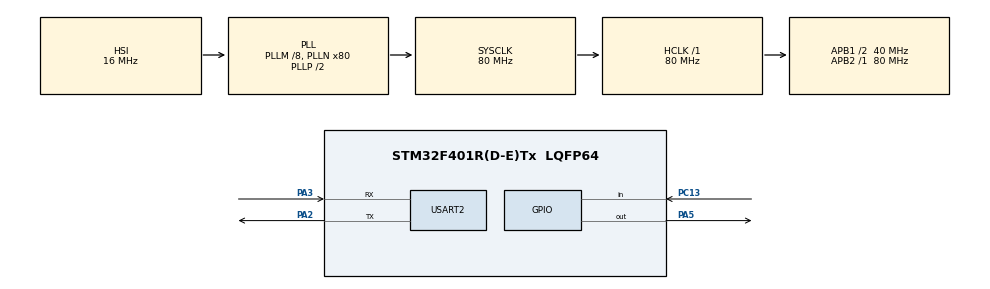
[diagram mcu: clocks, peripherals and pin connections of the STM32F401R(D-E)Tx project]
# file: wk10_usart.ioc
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Mcu.Family=STM32F4
RCC.CortexFreq_Value=80000000
<<<<<<< HEAD
=======
>>>>>>> teaching_wk10
RCC.APB1CLKDivider=RCC_HCLK_DIV2
RCC.SYSCLKSource=RCC_SYSCLKSOURCE_PLLCLK
ProjectManager.StackSize=0x400
PA3.Mode=Asynchronous
PA13.Signal=SYS_JTMS-SWDIO
ProjectManager.TargetToolchain=STM32CubeIDE
RCC.HCLKFreq_Value=80000000
RCC.APB2TimFreq_Value=80000000
RCC.LSE_VALUE=32768
RCC.AHBFreq_Value=80000000
PA5.Signal=GPIO_Output
RCC.HSE_VALUE=25000000
board=custom
PC13-ANTI_TAMP.Signal=GPIO_Input
RCC.VCOOutputFreq_Value=160000000
RCC.APB2Freq_Value=80000000
PA14.Mode=Serial_Wire
PA13.Mode=Serial_Wire
Mcu.Name=STM32F401R(D-E)Tx
PA2.Signal=USART2_TX
RCC.48MHZClocksFreq_Value=40000000
RCC.SYSCLKFreq_VALUE=80000000
Mcu.Package=LQFP64
USART2.VirtualMode=VM_ASYNC
PA14.Signal=SYS_JTCK-SWCLK
ProjectManager.HeapSize=0x200
RCC.HSI_VALUE=16000000
NVIC.PriorityGroup=NVIC_PRIORITYGROUP_4
RCC.PLLM=8
RCC.PLLN=80
RCC.APB1TimFreq_Value=80000000
PA2.Mode=Asynchronous
RCC.APB1Freq_Value=40000000
PA3.Signal=USART2_RX

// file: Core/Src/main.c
/* USER CODE BEGIN Header */
/**
  ******************************************************************************
  * @file           : main.c
  * @brief          : Main program body
  ******************************************************************************
  * @attention
  *
  * <h2><center>&copy; Copyright (c) 2021 STMicroelectronics.
  * All rights reserved.</center></h2>
  *
  * This software component is licensed by ST under BSD 3-Clause license,
  * the "License"; You may not use this file except in compliance with the
  * License. You may obtain a copy of the License at:
  *                        opensource.org/licenses/BSD-3-Clause
  *
  ******************************************************************************
  */
/* USER CODE END Header */
#include "main.h"

/* USER CODE BEGIN Includes */
<<<<<<< HEAD
#include "string.h"
#include "stdio.h"
=======

>>>>>>> teaching_wk10
/* USER CODE END Includes */

UART_HandleTypeDef huart2;

void SystemClock_Config(void);
static void MX_GPIO_Init(void);
static void MX_USART2_UART_Init(void);

int main(void)
{
  /* USER CODE BEGIN 1 */
<<<<<<< HEAD
  unsigned char tmp_ch[100];
=======

>>>>>>> teaching_wk10
  /* USER CODE END 1 */

  /* MCU Configuration--------------------------------------------------------*/

  /* Reset of all peripherals, Initializes the Flash interface and the Systick. */
  HAL_Init();

  /* Configure the system clock */
  SystemClock_Config();

  /* Initialize all configured peripherals */
  MX_GPIO_Init();
  MX_USART2_UART_Init();

  /* Infinite loop */
  /* USER CODE BEGIN WHILE */
  while (1)
  {
<<<<<<< HEAD
	  sprintf(&tmp_ch, "%f %d %s\n", 3.14, 56, "RAI");
	  HAL_UART_Transmit(&huart2, tmp_ch, strlen(tmp_ch), 1000);
	  HAL_Delay(1000);
=======
>>>>>>> teaching_wk10
    /* USER CODE END WHILE */

  }
}

void SystemClock_Config(void)
{
  RCC_OscInitTypeDef RCC_OscInitStruct = {0};
  RCC_ClkInitTypeDef RCC_ClkInitStruct = {0};

  /** Configure the main internal regulator output voltage
  */
  __HAL_RCC_PWR_CLK_ENABLE();
  __HAL_PWR_VOLTAGESCALING_CONFIG(PWR_REGULATOR_VOLTAGE_SCALE2);
  /** Initializes the RCC Oscillators according to the specified parameters
  * in the RCC_OscInitTypeDef structure.
  */
  RCC_OscInitStruct.OscillatorType = RCC_OSCILLATORTYPE_HSI;
  RCC_OscInitStruct.HSIState = RCC_HSI_ON;
  RCC_OscInitStruct.HSICalibrationValue = RCC_HSICALIBRATION_DEFAULT;
  RCC_OscInitStruct.PLL.PLLState = RCC_PLL_ON;
  RCC_OscInitStruct.PLL.PLLSource = RCC_PLLSOURCE_HSI;
  RCC_OscInitStruct.PLL.PLLM = 8;
  RCC_OscInitStruct.PLL.PLLN = 80;
  RCC_OscInitStruct.PLL.PLLP = RCC_PLLP_DIV2;
  RCC_OscInitStruct.PLL.PLLQ = 4;
  if (HAL_RCC_OscConfig(&RCC_OscInitStruct) != HAL_OK)
  {
    Error_Handler();
  }
  /** Initializes the CPU, AHB and APB buses clocks
  */
  RCC_ClkInitStruct.ClockType = RCC_CLOCKTYPE_HCLK|RCC_CLOCKTYPE_SYSCLK
                              |RCC_CLOCKTYPE_PCLK1|RCC_CLOCKTYPE_PCLK2;
  RCC_ClkInitStruct.SYSCLKSource = RCC_SYSCLKSOURCE_PLLCLK;
  RCC_ClkInitStruct.AHBCLKDivider = RCC_SYSCLK_DIV1;
  RCC_ClkInitStruct.APB1CLKDivider = RCC_HCLK_DIV2;
  RCC_ClkInitStruct.APB2CLKDivider = RCC_HCLK_DIV1;

  if (HAL_RCC_ClockConfig(&RCC_ClkInitStruct, FLASH_LATENCY_2) != HAL_OK)
  {
    Error_Handler();
  }
}

static void MX_USART2_UART_Init(void)
{

  huart2.Instance = USART2;
  huart2.Init.BaudRate = 115200;
  huart2.Init.WordLength = UART_WORDLENGTH_8B;
  huart2.Init.StopBits = UART_STOPBITS_1;
  huart2.Init.Parity = UART_PARITY_NONE;
  huart2.Init.Mode = UART_MODE_TX_RX;
  huart2.Init.HwFlowCtl = UART_HWCONTROL_NONE;
  huart2.Init.OverSampling = UART_OVERSAMPLING_16;
  if (HAL_UART_Init(&huart2) != HAL_OK)
  {
    Error_Handler();
  }

}

static void MX_GPIO_Init(void)
{
  GPIO_InitTypeDef GPIO_InitStruct = {0};

  /* GPIO Ports Clock Enable */
  __HAL_RCC_GPIOC_CLK_ENABLE();
  __HAL_RCC_GPIOA_CLK_ENABLE();

  /*Configure GPIO pin Output Level */
  HAL_GPIO_WritePin(GPIOA, GPIO_PIN_5, GPIO_PIN_RESET);

  /*Configure GPIO pin : PC13 */
  GPIO_InitStruct.Pin = GPIO_PIN_13;
  GPIO_InitStruct.Mode = GPIO_MODE_INPUT;
  GPIO_InitStruct.Pull = GPIO_NOPULL;
  HAL_GPIO_Init(GPIOC, &GPIO_InitStruct);

  /*Configure GPIO pin : PA5 */
  GPIO_InitStruct.Pin = GPIO_PIN_5;
  GPIO_InitStruct.Mode = GPIO_MODE_OUTPUT_PP;
  GPIO_InitStruct.Pull = GPIO_NOPULL;
  GPIO_InitStruct.Speed = GPIO_SPEED_FREQ_LOW;
  HAL_GPIO_Init(GPIOA, &GPIO_InitStruct);

}

void Error_Handler(void)
{
  __disable_irq();
  while (1)
  {
  }
}

/************************ (C) COPYRIGHT STMicroelectronics *****END OF FILE****/
